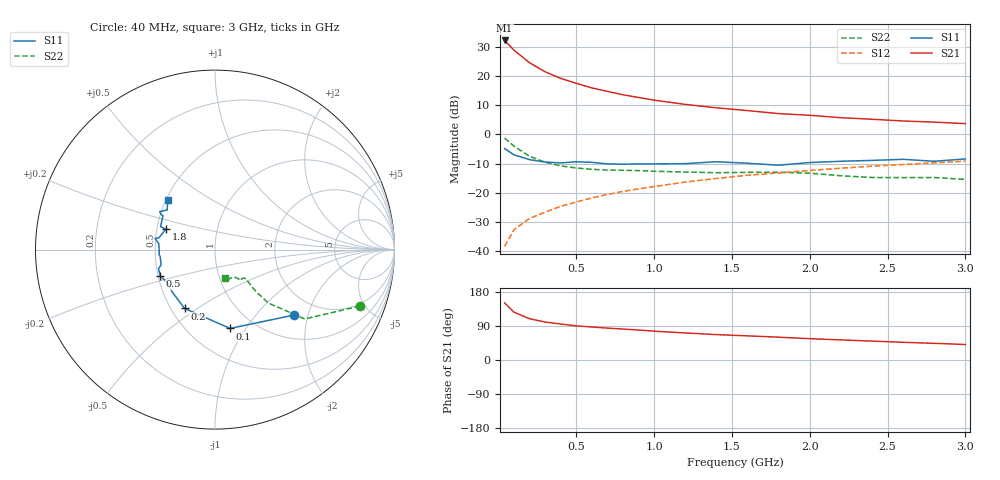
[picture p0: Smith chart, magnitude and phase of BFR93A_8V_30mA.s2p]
! Filename:  BFR93AH.S2P  Version:  2.0
! Philips part #: BFR93A  Date: May 1990
! Bias condition: Vce=8V, Ic=30mA
#  MHz  S  MA  R  50
! Freq  S11  S21  S12  S22  !GUM [dB]
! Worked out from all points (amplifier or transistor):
!   21 points, 40 MHz to 3 GHz, reference 50 ohm
!   highest |S21| = 32.3 dB at 40 MHz (marker M1)
!   |S21| within 3 dB of that: start of sweep to 94.22 MHz
!   unconditionally stable (mu >= 1): 660.8 MHz to 2.944 GHz
!   at 300 MHz: K = 0.88, MSG = 24.2 dB, |S12| = -26.7 dB
!   at 1 GHz: K = 1.04, MAG = 13.6 dB, |S12| = -17.9 dB
!   at 3 GHz: K = 0.99, MSG = 6.4 dB, |S12| = -9.2 dB
!   S11 on the Smith chart (normalised r, x): 40 MHz: 1.51, -1.64; 100 MHz: 0.78, -0.85; 200 MHz: 0.59, -0.44; 500 MHz: 0.51, -0.17; 1.8 GHz: 0.56, +0.14; 3 GHz: 0.51, +0.33
40  0.572 -39.6  41.36 151.0  0.012 73.0  0.866 -21.3
100  0.447 -79.2  28.22 126.2  0.023 63.2  0.632 -37.7
200  0.369 -117.3  17.12 109.0  0.036 64.3  0.422 -45.0
300  0.336 -134.9  11.97 100.1  0.046 65.9  0.333 -45.6
400  0.324 -146.6  9.213 95.0  0.058 68.7  0.288 -45.2
500  0.339 -154.1  7.585 90.0  0.069 70.1  0.265 -44.3
600  0.332 -161.4  6.325 87.1  0.081 70.4  0.252 -44.0
700  0.312 -164.2  5.508 84.2  0.093 72.1  0.244 -43.8
800  0.308 -172.9  4.816 81.6  0.105 71.4  0.242 -43.5
900  0.312 -174.5  4.331 79.1  0.116 72.3  0.239 -43.9
1000  0.312 177.6  3.892 76.1  0.127 72.1  0.233 -43.6
1200  0.315 174.0  3.293 71.4  0.152 71.6  0.226 -44.7
1400  0.34 169.3  2.873 67.0  0.175 70.0  0.22 -47.4
1600  0.32 168.3  2.574 63.7  0.199 69.6  0.223 -49.2
1800  0.296 157.3  2.285 60.2  0.218 68.2  0.224 -50.2
2000  0.329 157.2  2.136 56.3  0.24 66.8  0.216 -50.6
2200  0.346 146.9  1.944 53.0  0.263 66.4  0.195 -52.9
2400  0.358 146.9  1.827 49.9  0.285 64.5  0.182 -59.9
2600  0.374 145.5  1.705 46.7  0.304 63.0  0.181 -66.2
2800  0.346 140.4  1.631 44.0  0.326 61.8  0.182 -69.4
3000  0.38 133.9  1.535 40.9  0.348 60.1  0.169 -70.8
